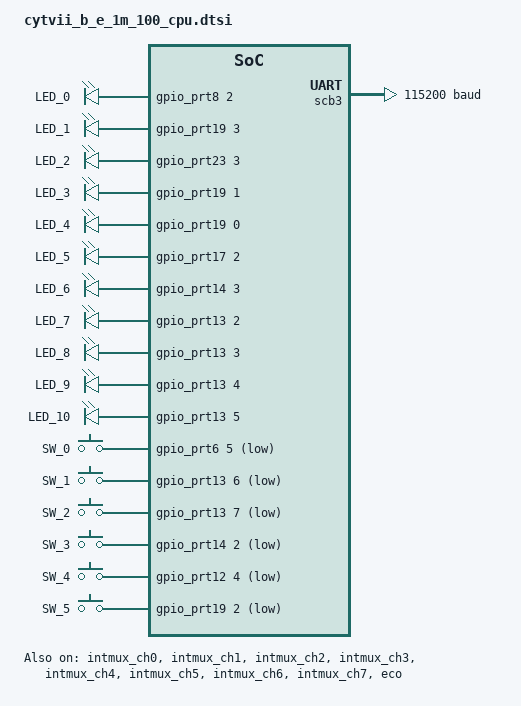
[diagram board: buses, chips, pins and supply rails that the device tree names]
/*
* Copyright (c) 2026 Linumiz
* Copyright (c) 2026 Infineon Technologies AG
* SPDX-License-Identifier: Apache-2.0
*/

#include <arm/infineon/cat1a/cyt2b7/cyt2b7.dtsi>
#include <arm/infineon/cat1a/cyt2b7/system_clocks.dtsi>
#include <zephyr/dt-bindings/input/input-event-codes.h>
#include <zephyr/dt-bindings/pinctrl/ifx_cat1-pinctrl.h>
#include <common/freq.h>
#include "cytvii_b_e_1m_100_cpu_pinctrl.dtsi"

/ {
	leds {
		compatible = "gpio-leds";

		cpu_user_led0: led0 {
			label = "LED_0";
			gpios = <&gpio_prt8 2 GPIO_ACTIVE_HIGH>;
		};

		bb_user_led0: led1 {
			label = "LED_1";
			gpios = <&gpio_prt19 3 GPIO_ACTIVE_HIGH>;
		};

		bb_user_led1: led2 {
			label = "LED_2";
			gpios = <&gpio_prt23 3 GPIO_ACTIVE_HIGH>;
		};

		bb_user_led2: led3 {
			label = "LED_3";
			gpios = <&gpio_prt19 1 GPIO_ACTIVE_HIGH>;
		};

		bb_user_led3: led4 {
			label = "LED_4";
			gpios = <&gpio_prt19 0 GPIO_ACTIVE_HIGH>;
		};

		bb_user_led4: led5 {
			label = "LED_5";
			gpios = <&gpio_prt17 2 GPIO_ACTIVE_HIGH>;
		};

		bb_user_led5: led6 {
			label = "LED_6";
			gpios = <&gpio_prt14 3 GPIO_ACTIVE_HIGH>;
		};

		bb_user_led6: led7 {
			label = "LED_7";
			gpios = <&gpio_prt13 2 GPIO_ACTIVE_HIGH>;
		};

		bb_user_led7: led8 {
			label = "LED_8";
			gpios = <&gpio_prt13 3 GPIO_ACTIVE_HIGH>;
		};

		bb_user_led8: led9 {
			label = "LED_9";
			gpios = <&gpio_prt13 4 GPIO_ACTIVE_HIGH>;
		};

		bb_user_led9: led10 {
			label = "LED_10";
			gpios = <&gpio_prt13 5 GPIO_ACTIVE_HIGH>;
		};

	};

	gpio_keys {
		compatible = "gpio-keys";

		cpu_user_bt0: cpu_user_btn0 {
			label = "SW_0";
			gpios = <&gpio_prt6 5 (GPIO_PULL_UP | GPIO_ACTIVE_LOW)>;
			zephyr,code = <INPUT_KEY_0>;
		};

		bb_user_bt1: bb_user_btn1 {
			label = "SW_1";
			gpios = <&gpio_prt13 6 (GPIO_PULL_UP | GPIO_ACTIVE_LOW)>;
			zephyr,code = <INPUT_KEY_1>;
		};

		bb_user_bt2: bb_user_btn2 {
			label = "SW_2";
			gpios = <&gpio_prt13 7 (GPIO_PULL_UP | GPIO_ACTIVE_LOW)>;
			zephyr,code = <INPUT_KEY_2>;
		};

		bb_user_bt3: bb_user_btn3 {
			label = "SW_3";
			gpios = <&gpio_prt14 2 (GPIO_PULL_UP | GPIO_ACTIVE_LOW)>;
			zephyr,code = <INPUT_KEY_3>;
		};

		bb_user_bt4: bb_user_btn4 {
			label = "SW_4";
			gpios = <&gpio_prt12 4 (GPIO_PULL_UP | GPIO_ACTIVE_LOW)>;
			zephyr,code = <INPUT_KEY_4>;
		};

		bb_user_bt5: bb_user_btn5 {
			label = "SW_5";
			gpios = <&gpio_prt19 2 (GPIO_PULL_UP | GPIO_ACTIVE_LOW)>;
			zephyr,code = <INPUT_KEY_5>;
		};

	};

	reserved-memory {
		#address-cells = <1>;
		#size-cells = <1>;

		sram_m0p: memory@8000800 {
			compatible = "mmio-sram";
			reg = <0x08000800 DT_SIZE_K(32)>;
		};

		sram_m4: memory@8008800 {
			compatible = "mmio-sram";
			reg = <0x08008800 DT_SIZE_K(94)>;
		};
	};

};

&code_flash0 {
	partitions {
		ranges;
		#address-cells = <1>;
		#size-cells = <1>;

		m0p_partition: partition_m0p@0 {
			compatible = "zephyr,mapped-partition";
			label = "m0p_partition";
			reg = <0x0 DT_SIZE_K(128)>;
		};

		m4_partition: partition@20000 {
			compatible = "zephyr,mapped-partition";
			label = "m4_partition";
			reg = <0x20000 DT_SIZE_K(832)>;
		};
	};
};

spi1: &scb1 {
	#address-cells = <1>;
	#size-cells = <0>;
	compatible = "infineon,spi";
	clocks = <&clk_peri0 21 1 3>;

	/* SPI pins */
	pinctrl-0 = <&p18_0_scb1_spi_miso &p18_1_scb1_spi_mosi &p18_2_scb1_spi_scl>;
	pinctrl-names = "default";
	cs-gpios = <&gpio_prt18 4 GPIO_ACTIVE_LOW>;
};

uart3: &scb3 {
	compatible = "infineon,uart";
	current-speed = <115200>;
	dmas = <&dma1 14>, <&dma1 15>;
	dma-names = "tx", "rx";
	clocks = <&clk_peri0 23 0 0>;

	/* UART pins */
	pinctrl-0 = <&p13_1_scb3_uart_tx &p13_0_scb3_uart_rx>;
	pinctrl-names = "default";
};

&dma1 {
	status = "okay";
};

&intmux_ch0 {
	status = "okay";
};

&intmux_ch1 {
	status = "okay";
};

&intmux_ch2 {
	status = "okay";
};

&intmux_ch3 {
	status = "okay";
};

&intmux_ch4 {
	status = "okay";
};

&intmux_ch5 {
	status = "okay";
};

&intmux_ch6 {
	status = "okay";
};

&intmux_ch7 {
	status = "okay";
};

&eco {
	status = "okay";
};

&pll0 {
	status = "okay";
};

&clk_hf0 {
	status = "okay";
};

&clk_hf1 {
	status = "okay";
};

&clk_hf2 {
	status = "okay";
};

&clk_peri0 {
	status = "okay";
};

&gpio_prt13 {
	status = "okay";
};
